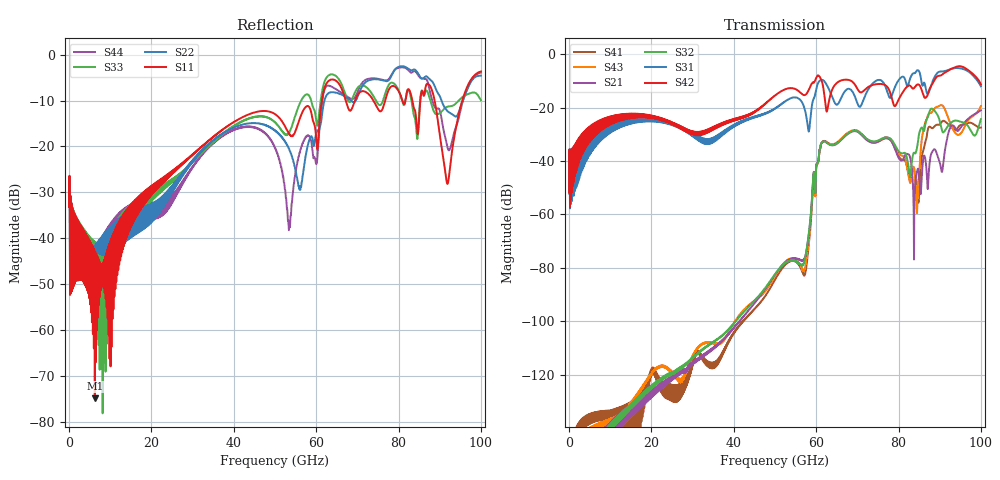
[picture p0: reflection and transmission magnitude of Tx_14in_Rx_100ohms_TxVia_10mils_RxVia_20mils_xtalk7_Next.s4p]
! Info: Touchstone file created by Circ.  Input file=Tx_14in_Rx_100ohms_TxVia_10mils_RxVia_20mils.circ
# Hz S RI R 50
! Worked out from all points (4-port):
!   10000 points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, 10 MHz to 100 GHz, reference 50 ohm
!   strongest paths, dB at 10 MHz, 25.01 GHz, 50.01 GHz, 75.01 GHz, 100 GHz:
!     S42: -51.6, -26.2, -15.4, -11.1, -11.3
!     S31: -52.2, -26.5, -20.2, -9.6, -12.0
!     S32: -, -119.6, -82.3, -32.3, -24.3
!     S21: -, -120.7, -82.5, -32.7, -21.0
!     S43: -153.9, -119.1, -82.9, -32.4, -19.4
!     S41: -154.0, -124.0, -84.3, -32.8, -27.4
!   lowest |S11| = -74.9 dB at 6.25 GHz (marker M1), VSWR 1.00, Z = 50 + j0.0114 ohm
!   |S11| at or under -10 dB: start of sweep to 61.39 GHz; 73.92 GHz to 76.75 GHz (2.828 GHz wide, 3.75 % of centre); 88.77 GHz to 95.48 GHz (6.708 GHz wide, 7.28 % of centre) (the widest 3 of 6)
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1e7  0.0202 0.00851  3.06e-11 -6.33e-11  0.000484 0.00241  -3.97e-09 1.95e-08
     3.06e-11 -6.33e-11  0.0216 0.00809  1.4e-12 -8.18e-11  0.000973 0.00245
     0.000484 0.00241  1.4e-12 -8.18e-11  0.0209 0.00809  -5.91e-09 1.93e-08
     -3.97e-09 1.95e-08  0.000973 0.00245  -5.91e-09 1.93e-08  0.0214 0.00813
6.25e9  0.00014 0.000114  -2.11e-08 2.97e-08  0.0123 0.0272  -1.01e-07 1.64e-07
        -2.11e-08 2.97e-08  0.00735 0.00351  -3.42e-08 2.08e-08  0.0227 0.0299
        0.0123 0.0272  -3.42e-08 2.08e-08  -0.000964 -0.00199  -9.15e-08 4.82e-08
        -1.01e-07 1.64e-07  0.0227 0.0299  -9.15e-08 4.82e-08  0.00648 0.00374
5.688e10  0.2015 -0.1446  0.000132 4.26e-05  0.0439 0.1033  7.3e-05 -1.7e-05
          0.000132 4.26e-05  -0.0487 0.0231  0.000105 4.69e-05  0.1145 0.1307
          0.0439 0.1033  0.000105 4.69e-05  0.3083 -0.1566  8.54e-05 -5.63e-06
          7.3e-05 -1.7e-05  0.1145 0.1307  8.54e-05 -5.63e-06  -0.066 -0.0935
6.164e10  0.2972 -0.2167  -0.00143 -0.023  0.297 0.1413  -0.00194 -0.0233
          -0.00143 -0.023  -0.2026 -0.1664  -0.00257 -0.0229  0.0452 -0.2549
          0.297 0.1413  -0.00257 -0.0229  0.3224 -0.2993  -0.00309 -0.0232
          -0.00194 -0.0233  0.0452 -0.2549  -0.00309 -0.0232  -0.3026 -0.1791
8.45e10  0.1499 -0.0327  0.00532 -0.00338  -0.4993 -0.012  0.00275 0.000982
         0.00532 -0.00338  -0.6363 -0.1318  -0.0176 0.00281  0.0103 0.2692
         -0.4993 -0.012  -0.0176 0.00281  0.1211 -0.018  -0.00107 0.000229
         0.00275 0.000982  0.0103 0.2692  -0.00107 0.000229  -0.6032 -0.1662
8.743e10  0.222 -0.4152  -0.00104 0.00731  -0.0994 0.1739  0.0274 0.0343
          -0.00104 0.00731  -0.432 0.3367  0.0679 0.0417  0.0622 0.2041
          -0.0994 0.1739  0.0679 0.0417  -0.1426 -0.3209  0.0606 0.0489
          0.0274 0.0343  0.0622 0.2041  0.0606 0.0489  -0.2853 0.3261
1e11  -0.656 0.00251  0.0381 -0.0809  0.0618 0.2438  -0.0425 -0.00244
      0.0381 -0.0809  -0.591 0.0387  0.0232 -0.0561  0.0989 0.2526
      0.0618 0.2438  0.0232 -0.0561  -0.2764 0.1602  0.00567 -0.1066
      -0.0425 -0.00244  0.0989 0.2526  0.00567 -0.1066  -0.6321 0.0866
